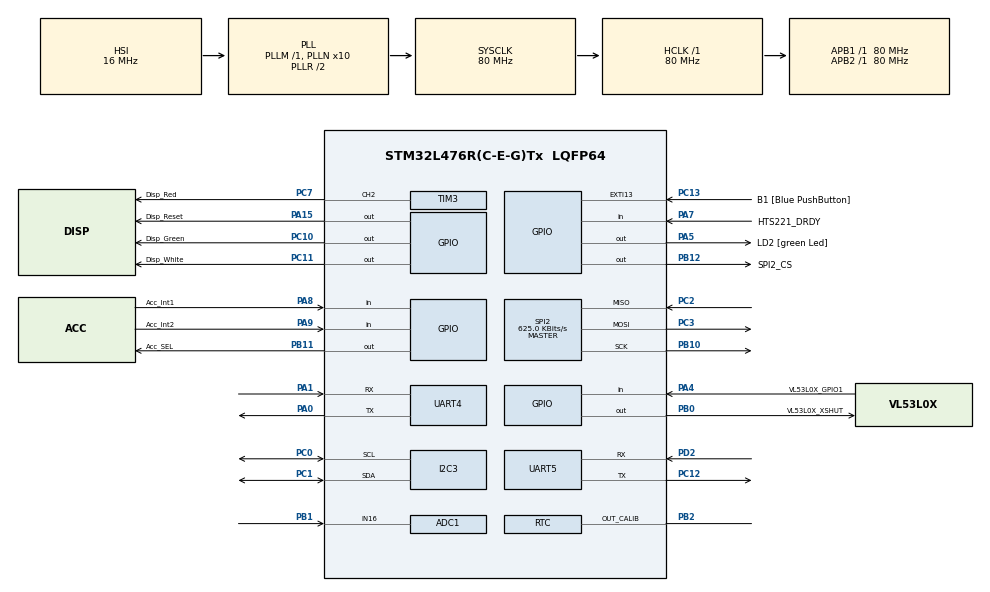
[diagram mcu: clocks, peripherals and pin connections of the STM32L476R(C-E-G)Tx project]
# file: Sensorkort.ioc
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ADC1.Channel-0\#ChannelRegularConversion=ADC_CHANNEL_16
ADC1.EOCSelection=ADC_EOC_SEQ_CONV
ADC1.NbrOfConversionFlag=1
ADC1.OffsetNumber-0\#ChannelRegularConversion=ADC_OFFSET_NONE
ADC1.Rank-0\#ChannelRegularConversion=1
ADC1.SamplingTime-0\#ChannelRegularConversion=ADC_SAMPLETIME_2CYCLES_5
ADC1.master=1
Mcu.Family=STM32L4
Mcu.Name=STM32L476R(C-E-G)Tx
Mcu.Package=LQFP64
NVIC.PriorityGroup=NVIC_PRIORITYGROUP_4
PA0.Mode=Asynchronous
PA0.Signal=UART4_TX
PA1.Mode=Asynchronous
PA1.Signal=UART4_RX
PA13\ (JTMS-SWDIO).GPIO_Label=TMS
PA13\ (JTMS-SWDIO).Mode=Serial_Wire
PA13\ (JTMS-SWDIO).Signal=SYS_JTMS-SWDIO
PA14\ (JTCK-SWCLK).GPIO_Label=TCK
PA14\ (JTCK-SWCLK).Mode=Serial_Wire
PA14\ (JTCK-SWCLK).Signal=SYS_JTCK-SWCLK
PA15\ (JTDI).GPIO_Label=Disp_Reset
PA15\ (JTDI).PinState=GPIO_PIN_SET
PA15\ (JTDI).Signal=GPIO_Output
PA2.GPIO_Label=USART_TX
PA2.GPIO_Mode=GPIO_MODE_AF_PP
PA2.GPIO_PuPd=GPIO_NOPULL
PA2.GPIO_Speed=GPIO_SPEED_FREQ_VERY_HIGH
PA2.Signal=USART2_TX
PA3.GPIO_Label=USART_RX
PA3.GPIO_Mode=GPIO_MODE_AF_PP
PA3.GPIO_PuPd=GPIO_NOPULL
PA3.GPIO_Speed=GPIO_SPEED_FREQ_VERY_HIGH
PA3.Signal=USART2_RX
PA4.GPIO_Label=VL53L0X_GPIO1
PA4.Signal=GPIO_Input
PA5.GPIO_Label=LD2 [green Led]
PA5.GPIO_ModeDefaultOutputPP=GPIO_MODE_OUTPUT_PP
PA5.GPIO_PuPd=GPIO_NOPULL
PA5.GPIO_Speed=GPIO_SPEED_FREQ_LOW
PA5.Signal=GPIO_Output
PA7.GPIO_Label=HTS221_DRDY
PA7.Signal=GPIO_Input
PA8.GPIO_Label=Acc_Int1
PA8.Signal=GPIO_Input
PA9.GPIO_Label=Acc_Int2
PA9.Signal=GPIO_Input
PB0.GPIO_Label=VL53L0X_XSHUT
PB0.GPIO_ModeDefaultOutputPP=GPIO_MODE_OUTPUT_PP
PB0.PinState=GPIO_PIN_SET
PB0.Signal=GPIO_Output
PB1.Signal=ADCx_IN16
PB10.GPIO_PuPd=GPIO_NOPULL
PB10.Mode=Full_Duplex_Master
PB10.Signal=SPI2_SCK
PB11.GPIO_Label=Acc_SEL
PB11.Signal=GPIO_Output
PB12.GPIO_Label=SPI2_CS
PB12.Signal=GPIO_Output
PB2.Mode=Calibration_1Hz
PB2.Signal=RTC_OUT_CALIB
PB3\ (JTDO-TRACESWO).GPIO_Label=SWO
PB3\ (JTDO-TRACESWO).Signal=SYS_JTDO-SWO
PC0.Mode=I2C
PC0.Signal=I2C3_SCL
PC1.Mode=I2C
PC1.Signal=I2C3_SDA
PC10.GPIO_Label=Disp_Green
PC10.PinState=GPIO_PIN_RESET
PC10.Signal=GPIO_Output
PC11.GPIO_Label=Disp_White
PC11.PinState=GPIO_PIN_RESET
PC11.Signal=GPIO_Output
PC12.Mode=Asynchronous
PC12.Signal=UART5_TX
PC13.GPIO_Label=B1 [Blue PushButton]
PC13.GPIO_ModeDefaultEXTI=GPIO_MODE_IT_FALLING
PC13.GPIO_PuPd=GPIO_NOPULL
PC13.Signal=GPXTI13
PC14-OSC32_IN\ (PC14).Mode=LSE-External-Oscillator
PC14-OSC32_IN\ (PC14).Signal=RCC_OSC32_IN
PC15-OSC32_OUT\ (PC15).Mode=LSE-External-Oscillator
PC15-OSC32_OUT\ (PC15).Signal=RCC_OSC32_OUT
PC2.Mode=Full_Duplex_Master
PC2.Signal=SPI2_MISO
PC3.Mode=Full_Duplex_Master
PC3.Signal=SPI2_MOSI
PC7.GPIO_Label=Disp_Red
PC7.Signal=S_TIM3_CH2
PD2.Mode=Asynchronous
PD2.Signal=UART5_RX
PH0-OSC_IN\ (PH0).Signal=RCC_OSC_IN
PH1-OSC_OUT\ (PH1).Signal=RCC_OSC_OUT
ProjectManager.HeapSize=0x200
ProjectManager.StackSize=0x400
ProjectManager.TargetToolchain=STM32CubeIDE
RCC.ADCFreq_Value=64000000
RCC.AHBFreq_Value=80000000
RCC.APB1Freq_Value=80000000
RCC.APB1TimFreq_Value=80000000
RCC.APB2Freq_Value=80000000
RCC.APB2TimFreq_Value=80000000
RCC.CortexFreq_Value=80000000
RCC.HCLKFreq_Value=80000000
RCC.HSE_VALUE=8000000
RCC.HSI_VALUE=16000000
RCC.MSI_VALUE=4000000
RCC.PLLN=10
RCC.PLLSourceVirtual=RCC_PLLSOURCE_HSI
RCC.PREFETCH_ENABLE=1
RCC.SYSCLKFreq_VALUE=80000000
RCC.SYSCLKSource=RCC_SYSCLKSOURCE_PLLCLK
RCC.USBFreq_Value=64000000
RCC.VCOOutputFreq_Value=160000000
RTC.Format=RTC_FORMAT_BIN
SH.ADCx_IN16.0=ADC1_IN16,IN16-Single-Ended
SH.S_TIM3_CH2.0=TIM3_CH2,PWM Generation2 CH2
SPI2.BaudRatePrescaler=SPI_BAUDRATEPRESCALER_128
SPI2.CLKPhase=SPI_PHASE_2EDGE
SPI2.CLKPolarity=SPI_POLARITY_HIGH
SPI2.CalculateBaudRate=625.0 KBits/s
SPI2.DataSize=SPI_DATASIZE_8BIT
SPI2.Direction=SPI_DIRECTION_2LINES
SPI2.FirstBit=SPI_FIRSTBIT_LSB
SPI2.Mode=SPI_MODE_MASTER
SPI2.VirtualType=VM_MASTER
TIM3.Channel-PWM\ Generation2\ CH2=TIM_CHANNEL_2
TIM3.Period=4015-1
TIM3.Prescaler=25-1
VP_RTC_VS_RTC_Activate.Mode=RTC_Enabled
VP_RTC_VS_RTC_Calendar.Mode=RTC_Calendar
VP_TIM3_VS_ClockSourceINT.Mode=Internal
board=NUCLEO-L476RG

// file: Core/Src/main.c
/* USER CODE BEGIN Header */
/**
 ******************************************************************************
 * @file           : main.c
 * @brief          : Main program body
 ******************************************************************************
 * @attention
 *
 * <h2><center>&copy; Copyright (c) 2019 STMicroelectronics.
 * All rights reserved.</center></h2>
 *
 * This software component is licensed by ST under BSD 3-Clause license,
 * the "License"; You may not use this file except in compliance with the
 * License. You may obtain a copy of the License at:
 *                        opensource.org/licenses/BSD-3-Clause
 *
 ******************************************************************************
 */
/* USER CODE END Header */

#include "main.h"
#include "adc.h"
#include "i2c.h"
#include "rtc.h"
#include "spi.h"
#include "tim.h"
#include "usart.h"
#include "gpio.h"

/* USER CODE BEGIN Includes */
#include "stdint.h"
#include "display.h"
#include "sensorkort.h"
/* USER CODE END Includes */

/* USER CODE BEGIN PD */
#define RUN_TEST_PROGRAM
/* USER CODE END PD */

void SystemClock_Config(void);

int main(void)
{

  /* MCU Configuration--------------------------------------------------------*/

  /* Reset of all peripherals, Initializes the Flash interface and the Systick. */
  HAL_Init();

  /* Configure the system clock */
  SystemClock_Config();

  /* Initialize all configured peripherals */
  MX_GPIO_Init();
  MX_ADC1_Init();
  MX_RTC_Init();
  MX_I2C3_Init();
  MX_SPI2_Init();
  MX_UART4_Init();
  MX_UART5_Init();
  MX_TIM3_Init();
  /* USER CODE BEGIN 2 */

  HAL_TIM_PWM_Start(&htim3, TIM_CHANNEL_2);
#undef RUN_TEST_PROGRAM

#ifdef RUN_TEST_PROGRAM
	test_program();
#else
	sensorkort();
#endif

  /* USER CODE END 2 */

  /* Infinite loop */
	while (1)
	{

	}
}

void SystemClock_Config(void)
{
  RCC_OscInitTypeDef RCC_OscInitStruct = {0};
  RCC_ClkInitTypeDef RCC_ClkInitStruct = {0};
  RCC_PeriphCLKInitTypeDef PeriphClkInit = {0};

  /** Initializes the CPU, AHB and APB busses clocks
  */
  RCC_OscInitStruct.OscillatorType = RCC_OSCILLATORTYPE_HSI|RCC_OSCILLATORTYPE_LSI;
  RCC_OscInitStruct.HSIState = RCC_HSI_ON;
  RCC_OscInitStruct.HSICalibrationValue = RCC_HSICALIBRATION_DEFAULT;
  RCC_OscInitStruct.LSIState = RCC_LSI_ON;
  RCC_OscInitStruct.PLL.PLLState = RCC_PLL_ON;
  RCC_OscInitStruct.PLL.PLLSource = RCC_PLLSOURCE_HSI;
  RCC_OscInitStruct.PLL.PLLM = 1;
  RCC_OscInitStruct.PLL.PLLN = 10;
  RCC_OscInitStruct.PLL.PLLP = RCC_PLLP_DIV7;
  RCC_OscInitStruct.PLL.PLLQ = RCC_PLLQ_DIV2;
  RCC_OscInitStruct.PLL.PLLR = RCC_PLLR_DIV2;
  if (HAL_RCC_OscConfig(&RCC_OscInitStruct) != HAL_OK)
  {
    Error_Handler();
  }
  /** Initializes the CPU, AHB and APB busses clocks
  */
  RCC_ClkInitStruct.ClockType = RCC_CLOCKTYPE_HCLK|RCC_CLOCKTYPE_SYSCLK
                              |RCC_CLOCKTYPE_PCLK1|RCC_CLOCKTYPE_PCLK2;
  RCC_ClkInitStruct.SYSCLKSource = RCC_SYSCLKSOURCE_PLLCLK;
  RCC_ClkInitStruct.AHBCLKDivider = RCC_SYSCLK_DIV1;
  RCC_ClkInitStruct.APB1CLKDivider = RCC_HCLK_DIV1;
  RCC_ClkInitStruct.APB2CLKDivider = RCC_HCLK_DIV1;

  if (HAL_RCC_ClockConfig(&RCC_ClkInitStruct, FLASH_LATENCY_4) != HAL_OK)
  {
    Error_Handler();
  }
  PeriphClkInit.PeriphClockSelection = RCC_PERIPHCLK_RTC|RCC_PERIPHCLK_UART4
                              |RCC_PERIPHCLK_UART5|RCC_PERIPHCLK_I2C3
                              |RCC_PERIPHCLK_ADC;
  PeriphClkInit.Uart4ClockSelection = RCC_UART4CLKSOURCE_PCLK1;
  PeriphClkInit.Uart5ClockSelection = RCC_UART5CLKSOURCE_PCLK1;
  PeriphClkInit.I2c3ClockSelection = RCC_I2C3CLKSOURCE_PCLK1;
  PeriphClkInit.AdcClockSelection = RCC_ADCCLKSOURCE_PLLSAI1;
  PeriphClkInit.RTCClockSelection = RCC_RTCCLKSOURCE_LSI;
  PeriphClkInit.PLLSAI1.PLLSAI1Source = RCC_PLLSOURCE_HSI;
  PeriphClkInit.PLLSAI1.PLLSAI1M = 1;
  PeriphClkInit.PLLSAI1.PLLSAI1N = 8;
  PeriphClkInit.PLLSAI1.PLLSAI1P = RCC_PLLP_DIV7;
  PeriphClkInit.PLLSAI1.PLLSAI1Q = RCC_PLLQ_DIV2;
  PeriphClkInit.PLLSAI1.PLLSAI1R = RCC_PLLR_DIV2;
  PeriphClkInit.PLLSAI1.PLLSAI1ClockOut = RCC_PLLSAI1_ADC1CLK;
  if (HAL_RCCEx_PeriphCLKConfig(&PeriphClkInit) != HAL_OK)
  {
    Error_Handler();
  }
  /** Configure the main internal regulator output voltage
  */
  if (HAL_PWREx_ControlVoltageScaling(PWR_REGULATOR_VOLTAGE_SCALE1) != HAL_OK)
  {
    Error_Handler();
  }
}

void Error_Handler(void)
{
  /* USER CODE BEGIN Error_Handler_Debug */
	/* User can add his own implementation to report the HAL error return state */
	char * err_msg = "ERROR";
	backlight_set_color("red");
	lcd_write_string(err_msg);
	HAL_Delay(10000);
	lcd_clear();
  /* USER CODE END Error_Handler_Debug */
}

/************************ (C) COPYRIGHT STMicroelectronics *****END OF FILE****/
